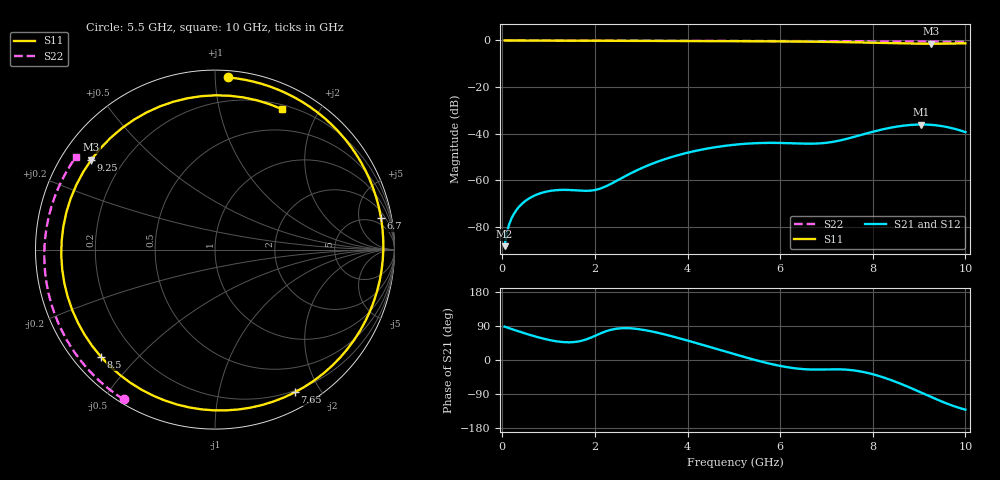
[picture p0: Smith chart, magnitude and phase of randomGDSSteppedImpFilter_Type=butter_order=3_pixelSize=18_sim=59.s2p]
! freq	dB(S11)	phase(S11)	dB(S12)	phase(S12)
!  dB(S21)	phase(S21)	dB(S22)	phase(S22)
!S-par simulation data
#  GHz  S  DB  R 50
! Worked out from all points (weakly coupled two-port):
!   200 points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, 50 MHz to 10 GHz, reference 50 ohm
!   highest |S21| = -36.05 dB at 9.05 GHz (marker M1); lowest = -88.2 dB at 50 MHz (marker M2)
!   lowest |S11| = -1.4 dB at 9.25 GHz (marker M3), VSWR 12.51, Z = 4.42 + j16.1 ohm
!   |S11| at or under -10 dB: nowhere
!   |S22| runs from -0.6 to 0.0 dB; largest |S21 - S12| = 0
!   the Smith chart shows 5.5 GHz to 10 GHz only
!   S11 on the Smith chart (normalised r, x): 5.5 GHz: 0.04, +1.08; 6.7 GHz: 3, +10; 7.65 GHz: 0.18, -1.69; 8.5 GHz: 0.08, -0.39; 9.25 GHz: 0.09, +0.32; 10 GHz: 0.25, +1.55
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0.05  -0.00 -3.0  -88.23 88.0  -88.23 88.0  -0.00 -1.2
0.4  -0.04 -23.6  -70.54 73.7  -70.54 73.7  -0.01 -9.7
0.7  -0.05 -41.0  -66.48 62.5  -66.48 62.5  -0.02 -17.0
1.2  -0.08 -68.7  -64.16 48.8  -64.16 48.8  -0.04 -28.9
1.75  -0.11 -97.3  -64.48 51.9  -64.48 51.9  -0.05 -41.8
2.6  -0.15 -137.6  -58.79 84.0  -58.79 84.0  -0.08 -61.2
3.4  -0.18 -173.3  -51.66 70.6  -51.66 70.6  -0.10 -78.6
4.2  -0.23 150.8  -47.24 44.4  -47.24 44.4  -0.13 -95.4
5.05  -0.29 109.6  -44.64 14.0  -44.64 14.0  -0.17 -112.5
5.5  -0.34 85.5  -44.04 -1.2  -44.04 -1.2  -0.20 -121.4
6.1  -0.41 50.2  -44.00 -17.9  -44.00 -17.9  -0.23 -133.1
6.7  -0.52 10.7  -44.27 -25.1  -44.27 -25.1  -0.28 -144.8
7.15  -0.64 -21.8  -43.45 -24.5  -43.45 -24.5  -0.31 -153.5
7.65  -0.81 -60.8  -41.05 -28.4  -41.05 -28.4  -0.36 -163.4
8  -0.96 -90.4  -39.15 -37.5  -39.15 -37.5  -0.39 -170.4
8.35  -1.12 -122.3  -37.55 -51.0  -37.55 -51.0  -0.43 -177.5
8.5  -1.19 -136.8  -37.01 -57.8  -37.01 -57.8  -0.44 179.4
8.8  -1.31 -167.3  -36.27 -72.8  -36.27 -72.8  -0.48 173.1
9.05  -1.37 166.0  -36.05 -86.2  -36.05 -86.2  -0.51 167.7
9.25  -1.39 144.0  -36.18 -97.0  -36.18 -97.0  -0.53 163.3
9.65  -1.34 100.3  -37.34 -117.3  -37.34 -117.3  -0.58 154.3
10  -1.24 64.6  -39.30 -131.1  -39.30 -131.1  -0.62 146.2
